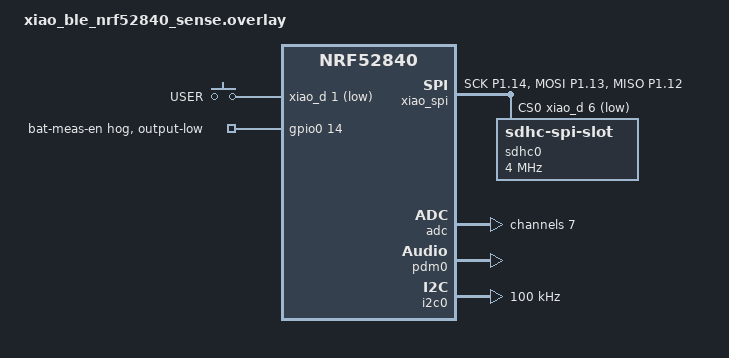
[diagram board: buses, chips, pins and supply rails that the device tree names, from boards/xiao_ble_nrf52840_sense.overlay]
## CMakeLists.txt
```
# SPDX-License-Identifier: Apache-2.0

cmake_minimum_required(VERSION 3.20.0)

find_package(Zephyr REQUIRED HINTS $ENV{ZEPHYR_BASE})
project(dmic)

target_sources(app PRIVATE src/main.c src/sd_offline.c)
```

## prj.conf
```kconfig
CONFIG_LOG=y
CONFIG_PRINTK=y
CONFIG_GPIO=y
CONFIG_AUDIO=y
CONFIG_AUDIO_DMIC=y
CONFIG_SENSOR=y
CONFIG_LSM6DSL=y
CONFIG_LSM6DSL_ACCEL_ODR=4
CONFIG_LSM6DSL_ACCEL_FS=2
CONFIG_I2C=y
CONFIG_ADC=y
CONFIG_SPI=y
CONFIG_DISK_ACCESS=y
CONFIG_DISK_DRIVER_SDMMC=y
CONFIG_FILE_SYSTEM=y
CONFIG_FAT_FILESYSTEM_ELM=y
CONFIG_FS_FATFS_LFN=y
CONFIG_CRC=y

CONFIG_MAIN_STACK_SIZE=8192
CONFIG_SYSTEM_WORKQUEUE_STACK_SIZE=8192
CONFIG_HEAP_MEM_POOL_SIZE=16384
CONFIG_BOOT_DELAY=5000

CONFIG_BT=y
CONFIG_BT_PERIPHERAL=y
CONFIG_BT_DEVICE_NAME="OpenPendant"
CONFIG_BT_USER_DATA_LEN_UPDATE=y
CONFIG_BT_AUTO_DATA_LEN_UPDATE=y
CONFIG_BT_L2CAP_TX_MTU=247
CONFIG_BT_BUF_ACL_RX_SIZE=251
CONFIG_BT_BUF_ACL_TX_SIZE=251
CONFIG_BT_BUF_ACL_TX_COUNT=8
CONFIG_BT_CONN_TX_MAX=8
CONFIG_BT_CTLR_SDC_MAX_CONN_EVENT_LEN_DEFAULT=20000
```

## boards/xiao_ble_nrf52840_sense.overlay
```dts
/*
 * SPDX-License-Identifier: Apache-2.0
 *
 * Mic power on at boot. IMU regulator needs extra settle time; probe the
 * LSM6DS3TR-C after boot (deferred-init in main).
 *
 * microSD SPI (assembly wiring, not the board silk SPI defaults):
 *   CLK → D9 (P1.14), CMD/MOSI → D8 (P1.13), D0/MISO → D7 (P1.12),
 *   D3/CS → D6 (P1.11).
 */
#include <zephyr/dt-bindings/i2c/i2c.h>
#include <zephyr/dt-bindings/adc/nrf-saadc.h>
#include <zephyr/dt-bindings/gpio/gpio.h>

/ {
	msm261d3526hicpm-c-en {
		regulator-boot-on;
	};

	lsm6ds3tr-c-en {
		regulator-always-on;
		startup-delay-us = <20000>;
	};

	buttons {
		compatible = "gpio-keys";
		/* Ø6 tactile: COM → GND, NO → D1 (P0.03). Internal pull-up. */
		user_btn: user_btn {
			gpios = <&xiao_d 1 (GPIO_PULL_UP | GPIO_ACTIVE_LOW)>;
			label = "USER";
		};
	};
};

/* Remap SPI2 off the default D8/D10/D9 onto the soldered D9/D8/D7 net. */
&pinctrl {
	spi2_default_sd: spi2_default_sd {
		group1 {
			psels = <NRF_PSEL(SPIM_SCK, 1, 14)>,
				<NRF_PSEL(SPIM_MOSI, 1, 13)>,
				<NRF_PSEL(SPIM_MISO, 1, 12)>;
		};
	};

	spi2_sleep_sd: spi2_sleep_sd {
		group1 {
			psels = <NRF_PSEL(SPIM_SCK, 1, 14)>,
				<NRF_PSEL(SPIM_MOSI, 1, 13)>,
				<NRF_PSEL(SPIM_MISO, 1, 12)>;
			low-power-enable;
		};
	};
};

/*
 * Board UART0 defaults to D6 TX / D7 RX. Those are our SD CS / MISO.
 * Console already uses USB CDC, so free the pins for SPI.
 */
&uart0 {
	status = "disabled";
};

&xiao_spi {
	status = "okay";
	pinctrl-0 = <&spi2_default_sd>;
	pinctrl-1 = <&spi2_sleep_sd>;
	pinctrl-names = "default", "sleep";
	cs-gpios = <&xiao_d 6 GPIO_ACTIVE_LOW>;

	sdhc0: sdhc@0 {
		compatible = "zephyr,sdhc-spi-slot";
		reg = <0>;
		status = "okay";
		spi-max-frequency = <4000000>;

		mmc {
			compatible = "zephyr,sdmmc-disk";
			disk-name = "SD";
			status = "okay";
		};
	};
};

/* WLY602030 LiPo: VBAT — 1 MΩ — P0.31 — 510 kΩ — P0.14.
 * P0.14 must stay LOW while a cell is attached or P0.31 can exceed 3.6 V.
 */
&gpio0 {
	bat-meas-en {
		gpio-hog;
		gpios = <14 0>;
		output-low;
		line-name = "bat-meas-en";
	};
};

&adc {
	#address-cells = <1>;
	#size-cells = <0>;

	channel@7 {
		reg = <7>;
		zephyr,gain = "ADC_GAIN_1_6";
		zephyr,reference = "ADC_REF_INTERNAL";
		zephyr,acquisition-time = <ADC_ACQ_TIME_DEFAULT>;
		zephyr,input-positive = <NRF_SAADC_AIN7>;
	};
};

dmic_dev: &pdm0 {
	status = "okay";
	/* Board DTS uses PCLK32M (HFINT). That clock is too jittery for STT. */
	clock-source = "PCLK32M_HFXO";
	queue-size = <8>;
};

&i2c0 {
	clock-frequency = <I2C_BITRATE_STANDARD>;
};

&lsm6ds3tr_c {
	zephyr,deferred-init;
};
```

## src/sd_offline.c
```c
/*
 * Offline microSD PCM recorder and BLE sync for OpenPendant.
 */
#include "sd_offline.h"

#include <errno.h>
#include <stdint.h>
#include <stdio.h>
#include <stdlib.h>
#include <string.h>

#include <ff.h>
#include <zephyr/fs/fs.h>
#include <zephyr/kernel.h>
#include <zephyr/storage/disk_access.h>
#include <zephyr/sys/byteorder.h>
#include <zephyr/sys/crc.h>
#include <zephyr/sys/printk.h>

#define SD_DISK_NAME "SD"
#define SD_MOUNT_PT  "/SD:"
#define SD_OP_DIR    "/SD:/op"
#define SD_MIN_FREE  (1U * 1024U * 1024U)
#define SD_ROTATE_B  (28U * 16000U * 2U) /* ~28 s of s16le mono */
#define SD_WBUF_SZ   4096
#define SD_MAX_PENDING 48
#define SD_PATH_MAX  96
#define SD_SESS_MAX  24

struct pending_entry {
	uint8_t id[8];
	uint8_t kind;
	uint16_t seq;
	uint32_t size;
	char path[SD_PATH_MAX];
	char session[SD_SESS_MAX];
};

static FATFS sd_fat;
static struct fs_mount_t sd_mnt = {
	.type = FS_FATFS,
	.fs_data = &sd_fat,
	.mnt_point = SD_MOUNT_PT,
};
static bool sd_mounted;
static struct k_mutex sd_lock;

static bool meeting_on;
static bool note_on;
static struct fs_file_t rec_file;
static bool rec_open;
static char rec_path[SD_PATH_MAX];
static char meeting_session[SD_SESS_MAX];
static uint32_t meeting_id;
static uint16_t meeting_seq;
static uint32_t file_bytes;
static uint8_t wbuf[SD_WBUF_SZ];
static size_t wbuf_len;

static struct pending_entry pending[SD_MAX_PENDING];
static uint16_t pending_n;
static uint16_t list_idx;

static uint8_t open_id[8];
static bool open_valid;
static char open_path[SD_PATH_MAX];
static uint32_t open_size;

static void close_rec_file(void);
static void scan_unlocked(void);

static int sd_mount(void)
{
	int err;
	struct fs_statvfs st;

	if (sd_mounted) {
		/* Stale flag after another path deinited the disk? Remount. */
		if (fs_statvfs(SD_MOUNT_PT, &st) == 0) {
			return 0;
		}
		printk("SD mount stale — remounting\n");
		sd_mounted = false;
		(void)disk_access_ioctl(SD_DISK_NAME, DISK_IOCTL_CTRL_DEINIT,
					NULL);
	}
	err = disk_access_ioctl(SD_DISK_NAME, DISK_IOCTL_CTRL_INIT, NULL);
	if (err) {
		(void)disk_access_ioctl(SD_DISK_NAME, DISK_IOCTL_CTRL_DEINIT,
					NULL);
		k_msleep(20);
		err = disk_access_ioctl(SD_DISK_NAME, DISK_IOCTL_CTRL_INIT,
					NULL);
		if (err) {
			printk("SD disk init failed (%d)\n", err);
			return err;
		}
	}
	err = fs_mount(&sd_mnt);
	if (err == -EBUSY || err == -EEXIST) {
		/* Volume already mounted — reuse it. */
		sd_mounted = true;
		return 0;
	}
	if (err) {
		printk("SD fs_mount failed (%d)\n", err);
		(void)disk_access_ioctl(SD_DISK_NAME, DISK_IOCTL_CTRL_DEINIT,
					NULL);
		return err;
	}
	sd_mounted = true;
	return 0;
}

void sd_offline_unmount(void)
{
	k_mutex_lock(&sd_lock, K_FOREVER);
	if (rec_open) {
		close_rec_file();
	}
	meeting_on = false;
	note_on = false;
	if (sd_mounted) {
		fs_unmount(&sd_mnt);
		sd_mounted = false;
	}
	(void)disk_access_ioctl(SD_DISK_NAME, DISK_IOCTL_CTRL_DEINIT, NULL);
	k_mutex_unlock(&sd_lock);
}

/* Returns free bytes, or UINT64_MAX if unknown (do not treat as full). */
static uint64_t sd_free_bytes(void)
{
	struct fs_statvfs st;

	if (fs_statvfs(SD_MOUNT_PT, &st) != 0) {
		return UINT64_MAX;
	}
	if (st.f_frsize == 0) {
		return UINT64_MAX;
	}
	return (uint64_t)st.f_bfree * (uint64_t)st.f_frsize;
}

static void id_from_path(const char *path, uint8_t kind, uint16_t seq,
			 uint8_t out[8])
{
	uint32_t c = crc32_ieee((const uint8_t *)path, strlen(path));

	sys_put_le32(c, &out[0]);
	sys_put_le16(seq, &out[4]);
	out[6] = kind;
	out[7] = (uint8_t)(c >> 24);
}

static int flush_wbuf(void)
{
	ssize_t n;

	if (!rec_open || wbuf_len == 0) {
		return 0;
	}
	n = fs_write(&rec_file, wbuf, wbuf_len);
	if (n < 0 || (size_t)n != wbuf_len) {
		return n < 0 ? (int)n : -EIO;
	}
	file_bytes += (uint32_t)wbuf_len;
	wbuf_len = 0;
	return 0;
}

static void close_rec_file(void)
{
	if (!rec_open) {
		return;
	}
	(void)flush_wbuf();
	fs_sync(&rec_file);
	fs_close(&rec_file);
	rec_open = false;
	wbuf_len = 0;
}

static bool name_is_pcm(const char *name)
{
	size_t n = strlen(name);

	if (n < 5) {
		return false;
	}
	return strcmp(&name[n - 4], ".pcm") == 0 ||
	       strcmp(&name[n - 4], ".PCM") == 0;
}

/* 8.3 names at the card root — same place the SD self-test writes
 * opentest.txt. Long names (m_xxxxxxxx_000.pcm) fail when LFN is off.
 * M + 5 hex id + 2 seq = 8 chars, e.g. M1A2B300.PCM
 */
static int open_meeting_chunk(void)
{
	int err;

	snprintk(rec_path, sizeof(rec_path), "%s/M%05X%02u.PCM", SD_MOUNT_PT,
		 (unsigned int)meeting_id, meeting_seq);
	fs_file_t_init(&rec_file);
	err = fs_open(&rec_file, rec_path, FS_O_CREATE | FS_O_WRITE | FS_O_TRUNC);
	if (err) {
		printk("SD meeting open failed (%d) %s\n", err, rec_path);
		return err;
	}
	rec_open = true;
	file_bytes = 0;
	wbuf_len = 0;
	printk("SD meeting chunk %s\n", rec_path);
	return 0;
}

static int start_meeting(void)
{
	int err;

	err = sd_mount();
	if (err) {
		printk("SD mount for meeting failed (%d)\n", err);
		return err;
	}
	{
		uint64_t free_b = sd_free_bytes();

		if (free_b != UINT64_MAX && free_b < SD_MIN_FREE) {
			printk("SD full (%llu B free) — refuse meeting\n",
			       (unsigned long long)free_b);
			return -ENOSPC;
		}
	}
	meeting_id = (k_uptime_get_32() >> 4) & 0xFFFFFU;
	meeting_seq = 0;
	snprintk(meeting_session, sizeof(meeting_session), "M%05X",
		 (unsigned int)meeting_id);
	err = open_meeting_chunk();
	if (err) {
		return err;
	}
	meeting_on = true;
	printk("SD meeting START %s\n", meeting_session);
	return 0;
}

static void stop_meeting(void)
{
	if (!meeting_on) {
		return;
	}
	close_rec_file();
	meeting_on = false;
	printk("SD meeting STOP\n");
	scan_unlocked();
}

static int start_note(void)
{
	uint32_t t = k_uptime_get_32() & 0xFFFFFFFU;
	char sess[SD_SESS_MAX];
	int err;

	err = sd_mount();
	if (err) {
		return err;
	}
	{
		uint64_t free_b = sd_free_bytes();

		if (free_b != UINT64_MAX && free_b < SD_MIN_FREE) {
			return -ENOSPC;
		}
	}
	if (meeting_on && rec_open) {
		close_rec_file();
		meeting_seq++;
	}
	snprintk(sess, sizeof(sess), "N%07X", (unsigned int)t);
	snprintk(rec_path, sizeof(rec_path), "%s/%s.PCM", SD_MOUNT_PT, sess);
	fs_file_t_init(&rec_file);
	err = fs_open(&rec_file, rec_path, FS_O_CREATE | FS_O_WRITE | FS_O_TRUNC);
	if (err) {
		printk("SD note open failed (%d) %s\n", err, rec_path);
		if (meeting_on) {
			(void)open_meeting_chunk();
		}
		return err;
	}
	rec_open = true;
	file_bytes = 0;
	wbuf_len = 0;
	note_on = true;
	printk("SD note START %s\n", sess);
	return 0;
}

static void stop_note(void)
{
	if (!note_on) {
		return;
	}
	close_rec_file();
	note_on = false;
	printk("SD note STOP\n");
	if (meeting_on) {
		(void)open_meeting_chunk();
	}
	scan_unlocked();
}

static int add_pending(const char *path, uint8_t kind, uint16_t seq,
		       const char *session, uint32_t size)
{
	struct pending_entry *e;

	if (pending_n >= SD_MAX_PENDING) {
		return -ENOMEM;
	}
	e = &pending[pending_n++];
	memset(e, 0, sizeof(*e));
	e->kind = kind;
	e->seq = seq;
	e->size = size;
	strncpy(e->path, path, sizeof(e->path) - 1);
	if (session) {
		strncpy(e->session, session, sizeof(e->session) - 1);
	}
	id_from_path(path, kind, seq, e->id);
	return 0;
}

static uint32_t file_size_path(const char *path)
{
	struct fs_dirent ent;

	if (fs_stat(path, &ent) != 0) {
		return 0;
	}
	return (uint32_t)ent.size;
}

static void add_pcm_from_name(const char *dir, const char *name)
{
	char path[SD_PATH_MAX];
	char stem[SD_SESS_MAX];
	size_t n;
	char kindc;
	uint16_t seq = 0;

	if (!name_is_pcm(name)) {
		return;
	}
	snprintk(path, sizeof(path), "%s/%s", dir, name);
	n = strlen(name);
	if (n < 5 || n - 4 >= sizeof(stem)) {
		return;
	}
	memcpy(stem, name, n - 4);
	stem[n - 4] = '\0';
	kindc = stem[0];
	if (kindc == 'n' || kindc == 'N') {
		(void)add_pending(path, SD_KIND_NOTE, 0, stem,
				  file_size_path(path));
		return;
	}
	if (kindc != 'm' && kindc != 'M') {
		return;
	}
	/* 8.3: MxxxxxSS  → session Mxxxxx, seq SS */
	if (strlen(stem) >= 8 && stem[1] != '_') {
		char sess[SD_SESS_MAX];

		memcpy(sess, stem, 6);
		sess[6] = '\0';
		seq = (uint16_t)strtoul(&stem[6], NULL, 10);
		(void)add_pending(path, SD_KIND_MEETING, seq, sess,
				  file_size_path(path));
		return;
	}
	if (stem[1] == '_') {
		char *last_us = strrchr(stem, '_');

		if (last_us && last_us != stem) {
			seq = (uint16_t)strtoul(last_us + 1, NULL, 10);
			*last_us = '\0';
		}
		(void)add_pending(path, SD_KIND_MEETING, seq, stem,
				  file_size_path(path));
	}
}

static void scan_dir(const char *dir)
{
	struct fs_dir_t d;
	struct fs_dirent ent;
	char path[SD_PATH_MAX];

	fs_dir_t_init(&d);
	if (fs_opendir(&d, dir) != 0) {
		return;
	}
	while (fs_readdir(&d, &ent) == 0 && ent.name[0] != '\0') {
		if (ent.type == FS_DIR_ENTRY_DIR) {
			if ((ent.name[0] == 'm' || ent.name[0] == 'M') &&
			    ent.name[1] == '_') {
				snprintk(path, sizeof(path), "%s/%s", dir,
					 ent.name);
				scan_dir(path);
			}
			continue;
		}
		add_pcm_from_name(dir, ent.name);
	}
	fs_closedir(&d);
}

static void scan_unlocked(void)
{
	pending_n = 0;
	list_idx = 0;
	if (sd_mount() != 0) {
		return;
	}
	scan_dir(SD_MOUNT_PT);
	scan_dir(SD_OP_DIR);
	printk("SD pending clips: %u\n", pending_n);
}

void sd_offline_scan(void)
{
	k_mutex_lock(&sd_lock, K_FOREVER);
	scan_unlocked();
	k_mutex_unlock(&sd_lock);
}

void sd_offline_init(void)
{
	k_mutex_init(&sd_lock);
	fs_file_t_init(&rec_file);
	/* Do not mount/scan here — SPI SD init can block for seconds (or hang
	 * with no card) and delays BLE advertising. Scan on first use.
	 */
	pending_n = 0;
	list_idx = 0;
}

bool sd_offline_recording(void)
{
	return meeting_on || note_on;
}

bool sd_offline_meeting_active(void)
{
	return meeting_on;
}

uint16_t sd_offline_pending_count(void)
{
	return pending_n;
}

int sd_offline_meeting_toggle(void)
{
	int err = 0;

	k_mutex_lock(&sd_lock, K_FOREVER);
	/* Don't block meetings on a stuck offline note. */
	if (note_on) {
		stop_note();
	}
	if (meeting_on) {
		stop_meeting();
	} else {
		err = start_meeting();
	}
	k_mutex_unlock(&sd_lock);
	return err;
}

int sd_offline_note_start(void)
{
	int err;

	k_mutex_lock(&sd_lock, K_FOREVER);
	err = start_note();
	k_mutex_unlock(&sd_lock);
	return err;
}

int sd_offline_note_stop(void)
{
	k_mutex_lock(&sd_lock, K_FOREVER);
	stop_note();
	k_mutex_unlock(&sd_lock);
	return 0;
}

void sd_offline_abort_for_live(void)
{
	k_mutex_lock(&sd_lock, K_FOREVER);
	if (note_on) {
		stop_note();
	}
	if (meeting_on) {
		stop_meeting();
	}
	k_mutex_unlock(&sd_lock);
}

void sd_offline_finalize(void)
{
	k_mutex_lock(&sd_lock, K_FOREVER);
	if (note_on) {
		stop_note();
	}
	if (meeting_on) {
		stop_meeting();
	}
	/* Refresh catalog after closing files (BLE connect / sync prep). */
	scan_unlocked();
	k_mutex_unlock(&sd_lock);
}

void sd_offline_write_pcm(const void *data, size_t len)
{
	const uint8_t *p = data;
	int err;

	if (!meeting_on && !note_on) {
		return;
	}
	k_mutex_lock(&sd_lock, K_FOREVER);
	if (!rec_open) {
		k_mutex_unlock(&sd_lock);
		return;
	}
	while (len > 0) {
		size_t space = SD_WBUF_SZ - wbuf_len;
		size_t n = len < space ? len : space;

		memcpy(&wbuf[wbuf_len], p, n);
		wbuf_len += n;
		p += n;
		len -= n;
		if (wbuf_len >= SD_WBUF_SZ) {
			err = flush_wbuf();
			if (err) {
				printk("SD write err %d — stop rec\n", err);
				close_rec_file();
				meeting_on = false;
				note_on = false;
				break;
			}
		}
	}
	if (meeting_on && !note_on && file_bytes + wbuf_len >= SD_ROTATE_B) {
		close_rec_file();
		meeting_seq++;
		{
			uint64_t free_b = sd_free_bytes();

			if ((free_b != UINT64_MAX && free_b < SD_MIN_FREE) ||
			    open_meeting_chunk() != 0) {
				printk("SD rotate failed — end meeting\n");
				meeting_on = false;
			}
		}
	}
	k_mutex_unlock(&sd_lock);
}

static struct pending_entry *find_pending(const uint8_t id[8])
{
	for (uint16_t i = 0; i < pending_n; i++) {
		if (memcmp(pending[i].id, id, 8) == 0) {
			return &pending[i];
		}
	}
	return NULL;
}

static void send_list_entry(const struct pending_entry *e, sd_data_send_fn send)
{
	uint8_t pkt[64];

	memset(pkt, 0, sizeof(pkt));
	pkt[0] = SD_MSG_LIST;
	pkt[1] = e->kind;
	memcpy(&pkt[2], e->id, 8);
	sys_put_le32(e->size, &pkt[10]);
	sys_put_le16(e->seq, &pkt[14]);
	strncpy((char *)&pkt[16], e->session, 32);
	send(pkt, 48);
}

static void send_list_end(sd_data_send_fn send)
{
	uint8_t pkt[16];

	memset(pkt, 0, sizeof(pkt));
	pkt[0] = SD_MSG_END;
	send(pkt, 16);
}

static int ctrl_list(sd_data_send_fn send)
{
	k_mutex_lock(&sd_lock, K_FOREVER);
	if (list_idx == 0) {
		scan_unlocked();
	}
	if (list_idx >= pending_n) {
		list_idx = 0;
		k_mutex_unlock(&sd_lock);
		send_list_end(send);
		return 0;
	}
	send_list_entry(&pending[list_idx], send);
	list_idx++;
	k_mutex_unlock(&sd_lock);
	return 0;
}

static int ctrl_open(const uint8_t id[8])
{
	struct pending_entry *e;

	k_mutex_lock(&sd_lock, K_FOREVER);
	e = find_pending(id);
	if (!e) {
		open_valid = false;
		k_mutex_unlock(&sd_lock);
		return -ENOENT;
	}
	memcpy(open_id, id, 8);
	strncpy(open_path, e->path, sizeof(open_path) - 1);
	open_size = e->size;
	open_valid = true;
	k_mutex_unlock(&sd_lock);
	printk("SD open %s (%u B)\n", open_path, open_size);
	return 0;
}

static int ctrl_read(uint32_t offset, uint16_t want, sd_data_send_fn send)
{
	struct fs_file_t f;
	uint8_t pkt[244];
	ssize_t n;
	int err;
	uint16_t max_payload = 220;

	if (!open_valid) {
		return -EINVAL;
	}
	if (want > max_payload) {
		want = max_payload;
	}
	if (offset >= open_size) {
		want = 0;
	} else if ((uint32_t)want > open_size - offset) {
		want = (uint16_t)(open_size - offset);
	}

	k_mutex_lock(&sd_lock, K_FOREVER);
	(void)sd_mount();
	fs_file_t_init(&f);
	err = fs_open(&f, open_path, FS_O_READ);
	if (err) {
		k_mutex_unlock(&sd_lock);
		return err;
	}
	if (offset > 0) {
		err = fs_seek(&f, offset, FS_SEEK_SET);
		if (err) {
			fs_close(&f);
			k_mutex_unlock(&sd_lock);
			return err;
		}
	}
	pkt[0] = SD_MSG_READ;
	memcpy(&pkt[1], open_id, 8);
	sys_put_le32(offset, &pkt[9]);
	n = want ? fs_read(&f, &pkt[15], want) : 0;
	fs_close(&f);
	k_mutex_unlock(&sd_lock);
	if (n < 0) {
		return (int)n;
	}
	sys_put_le16((uint16_t)n, &pkt[13]);
	send(pkt, (uint16_t)(15 + n));
	return 0;
}

static int unlink_path(const char *path)
{
	return fs_unlink(path);
}

static int ctrl_delete(const uint8_t id[8])
{
	struct pending_entry *e;
	char meta[SD_PATH_MAX];
	char dir[SD_PATH_MAX];
	const char *slash;
	int err;

	k_mutex_lock(&sd_lock, K_FOREVER);
	e = find_pending(id);
	if (!e) {
		k_mutex_unlock(&sd_lock);
		return -ENOENT;
	}
	(void)sd_mount();
	err = unlink_path(e->path);
	/* companion meta: foo.pcm → foo.meta.txt OR dir/000.meta.txt */
	if (e->kind == SD_KIND_NOTE) {
		snprintk(meta, sizeof(meta), "%s", e->path);
		size_t n = strlen(meta);

		if (n > 4) {
			memcpy(&meta[n - 4], ".meta.txt", 10);
			(void)unlink_path(meta);
		}
	} else {
		snprintk(meta, sizeof(meta), "%s", e->path);
		size_t n = strlen(meta);

		if (n > 4) {
			/* 000.pcm → 000.meta.txt */
			memcpy(&meta[n - 4], ".meta.txt", 10);
			(void)unlink_path(meta);
		}
		slash = strrchr(e->path, '/');
		if (slash) {
			size_t dlen = (size_t)(slash - e->path);

			if (dlen < sizeof(dir)) {
				memcpy(dir, e->path, dlen);
				dir[dlen] = '\0';
				/* try remove dir if empty */
				(void)fs_unlink(dir);
			}
		}
	}
	open_valid = false;
	scan_unlocked();
	k_mutex_unlock(&sd_lock);
	printk("SD delete id err=%d\n", err);
	return err;
}

int sd_offline_ctrl(const uint8_t *buf, uint16_t len, sd_data_send_fn send)
{
	if (len < 1 || send == NULL) {
		return -EINVAL;
	}
	switch (buf[0]) {
	case SD_CTRL_LIST:
		return ctrl_list(send);
	case SD_CTRL_OPEN:
		if (len < 9) {
			return -EINVAL;
		}
		return ctrl_open(&buf[1]);
	case SD_CTRL_READ: {
		uint32_t off;
		uint16_t want;

		if (len < 7) {
			return -EINVAL;
		}
		off = sys_get_le32(&buf[1]);
		want = sys_get_le16(&buf[5]);
		return ctrl_read(off, want, send);
	}
	case SD_CTRL_DELETE:
		if (len < 9) {
			return -EINVAL;
		}
		return ctrl_delete(&buf[1]);
	default:
		return -ENOTSUP;
	}
}
```

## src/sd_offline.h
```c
/*
 * Offline microSD capture + BLE sync helpers for OpenPendant.
 * SPI: CLK D9, MOSI D8, MISO D7, CS D6. Mount point /SD:
 */
#ifndef SD_OFFLINE_H_
#define SD_OFFLINE_H_

#include <stddef.h>
#include <stdint.h>
#include <stdbool.h>

#define SD_CTRL_LIST   0x10
#define SD_CTRL_OPEN   0x11
#define SD_CTRL_READ   0x12
#define SD_CTRL_DELETE 0x13

#define SD_KIND_MEETING 1
#define SD_KIND_NOTE    2

#define SD_MSG_LIST 0x10
#define SD_MSG_READ 0x12
#define SD_MSG_END  0x1F

typedef void (*sd_data_send_fn)(const uint8_t *data, uint16_t len);

void sd_offline_init(void);

bool sd_offline_recording(void);
bool sd_offline_meeting_active(void);
uint16_t sd_offline_pending_count(void);

/* Button-driven offline capture (only when live PCM notify is off). */
int sd_offline_meeting_toggle(void);
int sd_offline_note_start(void);
int sd_offline_note_stop(void);

/* Stop offline capture if the phone arms live PCM. */
void sd_offline_abort_for_live(void);

/* Flush/close any open offline files (e.g. on BLE connect before sync). */
void sd_offline_finalize(void);

/* Write one PDM block (typically 240 B). Safe no-op if idle. */
void sd_offline_write_pcm(const void *data, size_t len);

/* Sync control ops; may call send() with SD data notifies. */
int sd_offline_ctrl(const uint8_t *buf, uint16_t len, sd_data_send_fn send);

/* Rebuild pending catalog (after delete or boot). */
void sd_offline_scan(void);

/* Tear down mount (SD self-test). Stops any offline capture. */
void sd_offline_unmount(void);

#endif /* SD_OFFLINE_H_ */
```
